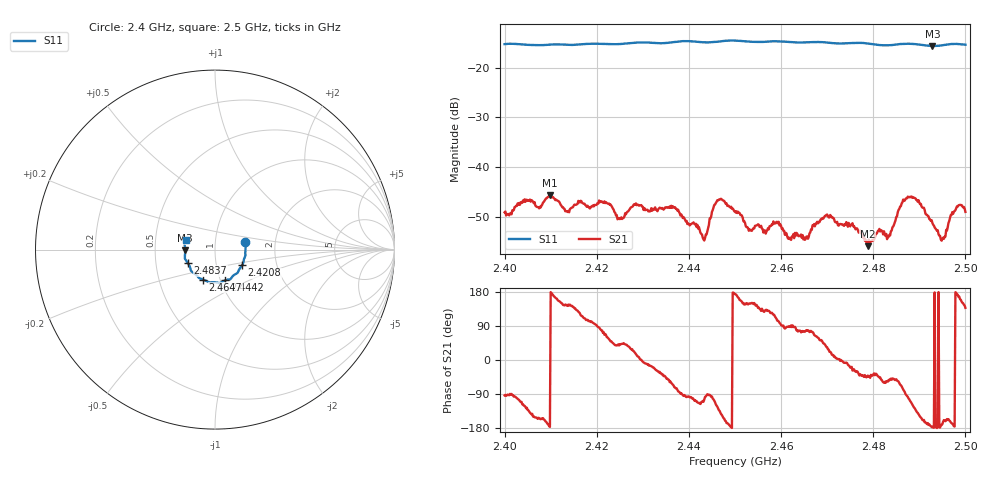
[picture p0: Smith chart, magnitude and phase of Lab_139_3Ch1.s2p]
# Hz S RI R 50
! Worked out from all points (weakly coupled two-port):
!   601 points, 2.4 GHz to 2.5 GHz, reference 50 ohm
!   highest |S21| = -45.59 dB at 2.4098 GHz (marker M1); lowest = -55.9 dB at 2.4788 GHz (marker M2)
!   lowest |S11| = -15.6 dB at 2.4928 GHz (marker M3), VSWR 1.40, Z = 35.8 - j0.362 ohm
!   |S11| at or under -10 dB: start of sweep to end of sweep
!   S12 and S22 are empty: the file has one direction only
!   S11 on the Smith chart (normalised r, x): 2.4 GHz: 1.40, +0.12; 2.4208 GHz: 1.33, -0.24; 2.4442 GHz: 1.05, -0.37; 2.4647 GHz: 0.83, -0.29; 2.4837 GHz: 0.73, -0.11; 2.5 GHz: 0.72, +0.08
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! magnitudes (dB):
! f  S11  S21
! 2.4 GHz  -15.2  -49.1
! 2.4098 GHz  -15.3  -45.6
! 2.4135 GHz  -15.4  -48.9
! 2.4167 GHz  -15.2  -46.9
! 2.4208 GHz  -15.2  -46.9
! 2.425 GHz  -15.2  -50.5
! 2.4333 GHz  -15.1  -48.5
! 2.4442 GHz  -14.9  -52.3
! 2.4465 GHz  -14.7  -46.5
! 2.45 GHz  -14.5  -48.9
! 2.4532 GHz  -14.7  -52.5
! 2.4647 GHz  -14.9  -53.7
! 2.4667 GHz  -14.8  -52.6
! 2.4703 GHz  -14.9  -50.1
! 2.4788 GHz  -15.1  -55.9
! 2.4833 GHz  -15.5  -54.0
! 2.4837 GHz  -15.4  -53.7
! 2.4878 GHz  -15.2  -46.1
! 2.4928 GHz  -15.6  -51.2
! 2.4952 GHz  -15.4  -54.2
! 2.498 GHz  -15.2  -48.3
! 2.5 GHz  -15.4  -49.0
